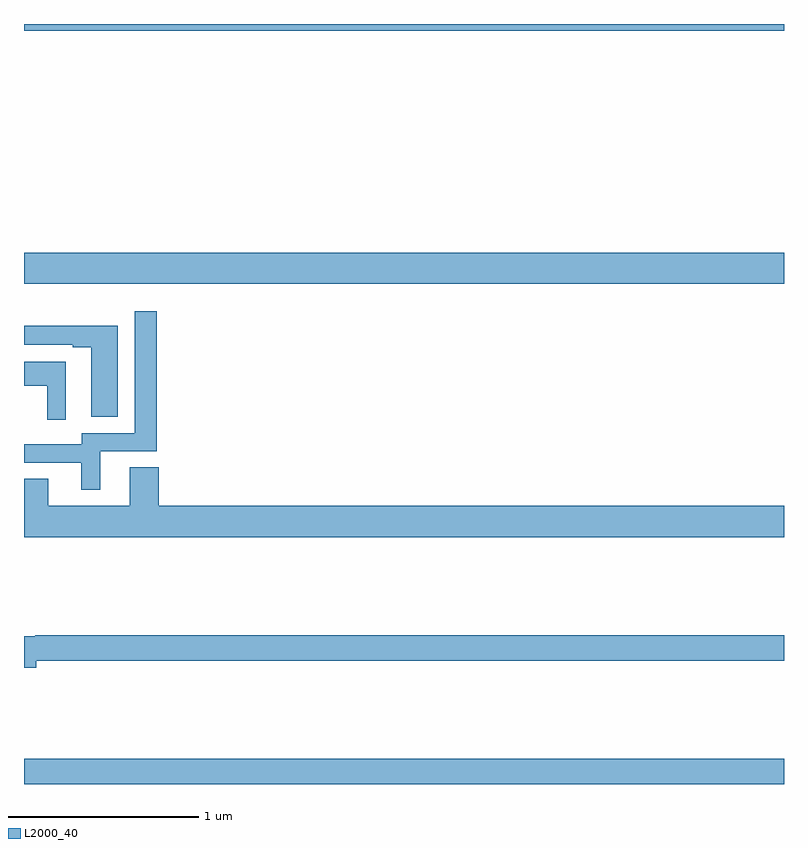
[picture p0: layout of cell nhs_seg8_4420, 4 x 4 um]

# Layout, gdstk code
import gdstk
lib = gdstk.Library(unit=1e-6, precision=1e-09)
def R(c, l, rs):  # rectangles x0, y0, x1, y1
    for r in rs: c.add(gdstk.rectangle(r[:2], r[2:], *l))
def P(c, l, *ps):  # polygons
    for p in ps: c.add(gdstk.Polygon(p, *l))
L2000_40 = (2000, 40)

nhs_seg8_4420 = lib.new_cell('nhs_seg8_4420')
R(nhs_seg8_4420, L2000_40, [(381,1081.9,385,1082.032), (381,1084.532,385,1084.696), (381,1085.864,385,1085.9)])
P(nhs_seg8_4420, L2000_40, [(381.4,1083.651),(381.698,1083.651),(381.698,1084.387),(381.582,1084.387),(381.582,1083.747),(381.303,1083.747),(381.303,1083.687),(381,1083.687),(381,1083.591),(381.302,1083.591),(381.302,1083.45),(381.4,1083.45)],
  [(381.493,1084.311),(381,1084.311),(381,1084.212),(381.257,1084.212),(381.257,1084.2),(381.353,1084.2),(381.353,1083.834),(381.493,1083.834)],
  [(381.22,1084.123),(381,1084.123),(381,1083.995),(381.122,1083.995),(381.122,1083.816),(381.22,1083.816)],
  [(385,1083.364),(381.71,1083.364),(381.71,1083.566),(381.557,1083.566),(381.557,1083.364),(381.127,1083.364),(381.127,1083.506),(381,1083.506),(381,1083.2),(385,1083.2)],
  [(381.064,1082.548),(385,1082.548),(385,1082.684),(381.06,1082.684),(381.06,1082.677),(381,1082.677),(381,1082.513),(381.064,1082.513)])

lib.write_gds('nhs_seg8_4420.gds')
